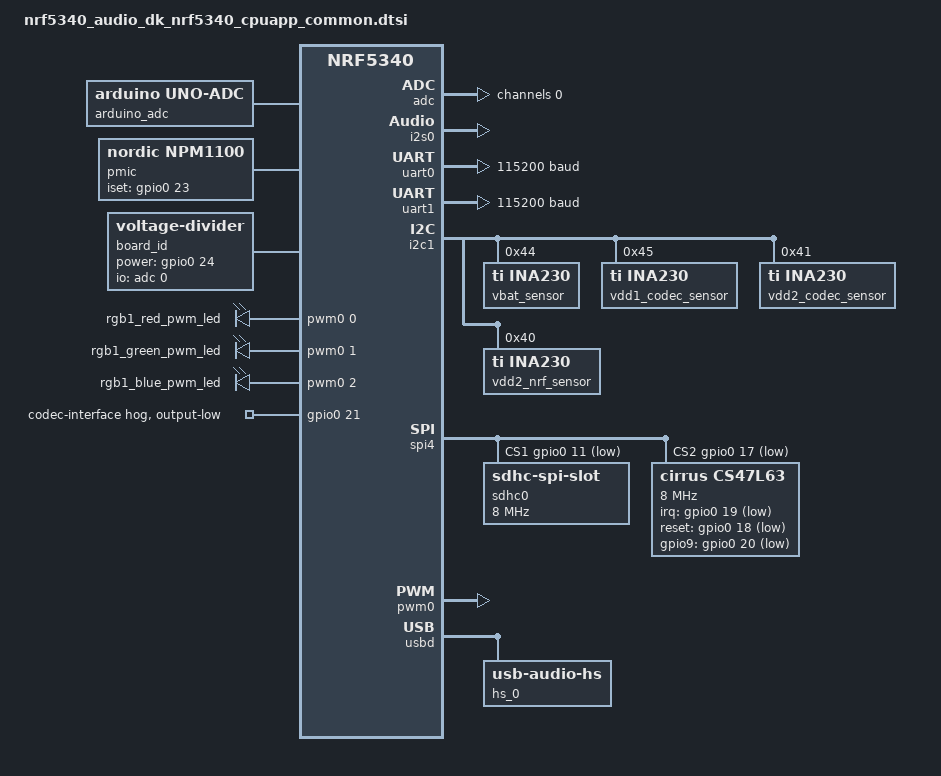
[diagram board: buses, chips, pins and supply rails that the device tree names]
/*
 * Copyright (c) 2020-2022 Nordic Semiconductor ASA
 *
 * SPDX-License-Identifier: Apache-2.0
 */
#include "nrf5340_audio_dk_nrf5340_cpuapp_common-pinctrl.dtsi"
#include <zephyr/dt-bindings/sensor/ina230.h>

/ {
	chosen {
		zephyr,console = &uart0;
		zephyr,shell-uart = &uart0;
		zephyr,uart-mcumgr = &uart0;
		zephyr,bt-mon-uart = &uart0;
		zephyr,bt-c2h-uart = &uart0;
		zephyr,bt-hci = &bt_hci_ipc0;
		watchdog0 = &wdt0;
	};

	gpio_fwd: nrf-gpio-forwarder {
		compatible = "nordic,nrf-gpio-forwarder";
		status = "okay";
		uart {
			gpios = <&gpio1 9 0>, <&gpio1 8 0>, <&gpio1 11 0>, <&gpio1 10 0>;
		};
	};

	arduino_adc: analog-connector {
		compatible = "arduino,uno-adc";
		#io-channel-cells = <1>;
		io-channel-map = <0 &adc 1>,	/* A0 = P0.4 = AIN1 */
				 <1 &adc 2>,	/* A1 = P0.5 = AIN2 */
				 <2 &adc 4>,	/* A2 = P0.6 = AIN4 */
				 <3 &adc 5>,	/* A3 = P0.7 = AIN5 */
				 <4 &adc 6>,	/* A4 = P0.25 = AIN6 */
				 <5 &adc 7>;	/* A5 = P0.26 = AIN7 */
	};

	pmic {
		compatible = "nordic,npm1100";
		nordic,iset-gpios = <&gpio0 23 GPIO_ACTIVE_HIGH>;
	};

	board_id: board_id {
		compatible = "voltage-divider";
		io-channels = <&adc 0>;
		output-ohms = <20000>;
		full-ohms = <47000>;
		power-gpios = <&gpio0 24 GPIO_ACTIVE_HIGH>;
	};

	pwmleds {
		compatible = "pwm-leds";
		rgb1_red_pwm_led: pwm_led_0 {
			pwms = <&pwm0 0 PWM_MSEC(20) PWM_POLARITY_NORMAL>;
		};
		rgb1_green_pwm_led: pwm_led_1 {
			pwms = <&pwm0 1 PWM_MSEC(20) PWM_POLARITY_NORMAL>;
		};
		rgb1_blue_pwm_led: pwm_led_2 {
			pwms = <&pwm0 2 PWM_MSEC(20) PWM_POLARITY_NORMAL>;
		};
	};

	aliases {
		pwm-led0 = &rgb1_red_pwm_led;
		pwm-led1 = &rgb1_green_pwm_led;
		pwm-led2 = &rgb1_blue_pwm_led;
		red-pwm-led = &rgb1_red_pwm_led;
		green-pwm-led = &rgb1_green_pwm_led;
		blue-pwm-led = &rgb1_blue_pwm_led;
	};
};

&adc {
	status = "okay";
	#address-cells = <1>;
	#size-cells = <0>;

	channel@0 {
		reg = <0>;
		zephyr,gain = "ADC_GAIN_1_4";
		zephyr,reference = "ADC_REF_VDD_1_4";
		zephyr,acquisition-time = <ADC_ACQ_TIME(ADC_ACQ_TIME_MICROSECONDS, 40)>;
		zephyr,input-positive = <NRF_SAADC_AIN6>;
		zephyr,resolution = <12>;
		zephyr,oversampling = <8>;
	};
};

&gpiote {
	status = "okay";
};

&gpio0 {
	status = "okay";

	codec-interface {
		gpio-hog;
		gpios = <21 GPIO_ACTIVE_HIGH>;
		/* low output to select on-board codec control */
		output-low;
	};
};

&gpio1 {
	status = "okay";
};

&i2s0 {
	compatible = "nordic,nrf-i2s";
	status = "okay";
	pinctrl-0 = <&i2s0_default>;
	pinctrl-1 = <&i2s0_sleep>;
	pinctrl-names = "default", "sleep";
};

&uart0 {
	status = "okay";
	current-speed = <115200>;
	pinctrl-0 = <&uart0_default>;
	pinctrl-1 = <&uart0_sleep>;
	pinctrl-names = "default", "sleep";
};

arduino_serial: &uart1 {
	compatible = "nordic,nrf-uarte";
	current-speed = <115200>;
	pinctrl-0 = <&uart1_default>;
	pinctrl-1 = <&uart1_sleep>;
	pinctrl-names = "default", "sleep";
};

arduino_i2c: &i2c1 {
	compatible = "nordic,nrf-twim";
	status = "okay";
	pinctrl-0 = <&i2c1_default>;
	pinctrl-1 = <&i2c1_sleep>;
	pinctrl-names = "default", "sleep";

	vbat_sensor: ina231@44 {
		compatible = "ti,ina230";
		reg = <0x44>;
		adc-mode = "Bus and shunt voltage continuous";
		vbus-conversion-time-us = <4156>;
		vshunt-conversion-time-us = <4156>;
		avg-count = <1024>;
		current-lsb-microamps = <1>;
		rshunt-micro-ohms = <510000>;
	};

	vdd1_codec_sensor: ina231@45 {
		compatible = "ti,ina230";
		reg = <0x45>;
		adc-mode = "Bus and shunt voltage continuous";
		vbus-conversion-time-us = <4156>;
		vshunt-conversion-time-us = <4156>;
		avg-count = <1024>;
		current-lsb-microamps = <1>;
		rshunt-micro-ohms = <2200000>;
	};

	vdd2_codec_sensor: ina231@41 {
		compatible = "ti,ina230";
		reg = <0x41>;
		adc-mode = "Bus and shunt voltage continuous";
		vbus-conversion-time-us = <4156>;
		vshunt-conversion-time-us = <4156>;
		avg-count = <1024>;
		current-lsb-microamps = <1>;
		rshunt-micro-ohms = <2200000>;
	};

	vdd2_nrf_sensor: ina231@40 {
		compatible = "ti,ina230";
		reg = <0x40>;
		adc-mode = "Bus and shunt voltage continuous";
		vbus-conversion-time-us = <4156>;
		vshunt-conversion-time-us = <4156>;
		avg-count = <1024>;
		current-lsb-microamps = <1>;
		rshunt-micro-ohms = <1000000>;
	};
};

arduino_spi: &spi4 {
	compatible = "nordic,nrf-spim";
	status = "okay";
	cs-gpios = <&arduino_header 16 GPIO_ACTIVE_LOW>,
		<&gpio0 11 GPIO_ACTIVE_LOW>, <&gpio0 17 GPIO_ACTIVE_LOW>;
	pinctrl-0 = <&spi4_default>;
	pinctrl-1 = <&spi4_sleep>;
	pinctrl-names = "default", "sleep";
	sdhc0: sdhc@1 {
		compatible = "zephyr,sdhc-spi-slot";
		reg = <1>;
		status = "okay";
		sdmmc {
			compatible = "zephyr,sdmmc-disk";
			status = "okay";
		};

		spi-max-frequency = <8000000>;
	};

	cs47l63: cs47l63@2 {
		compatible = "cirrus,cs47l63";
		reg = <2>;
		spi-max-frequency = <8000000>;
		irq-gpios = <&gpio0 19 GPIO_ACTIVE_LOW>;
		reset-gpios = <&gpio0 18 GPIO_ACTIVE_LOW>;
		gpio9-gpios = <&gpio0 20 GPIO_ACTIVE_LOW>;
	};
};

&pwm0 {
	status = "okay";
	pinctrl-0 = <&pwm0_default>;
	pinctrl-1 = <&pwm0_sleep>;
	pinctrl-names = "default", "sleep";
};

&flash0 {
	partitions {
		compatible = "fixed-partitions";
		#address-cells = <1>;
		#size-cells = <1>;

		boot_partition: partition@0 {
			label = "mcuboot";
			reg = <0x00000000 0x00010000>;
		};
		slot0_partition: partition@10000 {
			label = "image-0";
		};
		slot0_ns_partition: partition@50000 {
			label = "image-0-nonsecure";
		};
		slot1_partition: partition@80000 {
			label = "image-1";
		};
		slot1_ns_partition: partition@c0000 {
			label = "image-1-nonsecure";
		};
		storage_partition: partition@fa000 {
			label = "storage";
			reg = <0x000fa000 0x00006000>;
		};
	};
};

/ {
	reserved-memory {
		#address-cells = <1>;
		#size-cells = <1>;
		ranges;

		sram0_image: image@20000000 {
			/* Zephyr image(s) memory */
		};

		sram0_s: image_s@20000000 {
			/* Secure image memory */
		};

		sram0_ns: image_ns@20040000 {
			/* Non-Secure image memory */
		};
	};
};

zephyr_udc0: &usbd {
	compatible = "nordic,nrf-usbd";
	status = "okay";

	hs_0: hs_0 {
		compatible = "usb-audio-hs";
		mic-feature-mute;
		mic-channel-l;
		mic-channel-r;

		hp-feature-mute;
		hp-channel-l;
		hp-channel-r;
	};
};

/* Include partition configuration file */
#include "nrf5340_audio_dk_nrf5340_cpuapp_partition_conf.dtsi"
#include "nrf5340_audio_dk_nrf5340_shared.dtsi"
